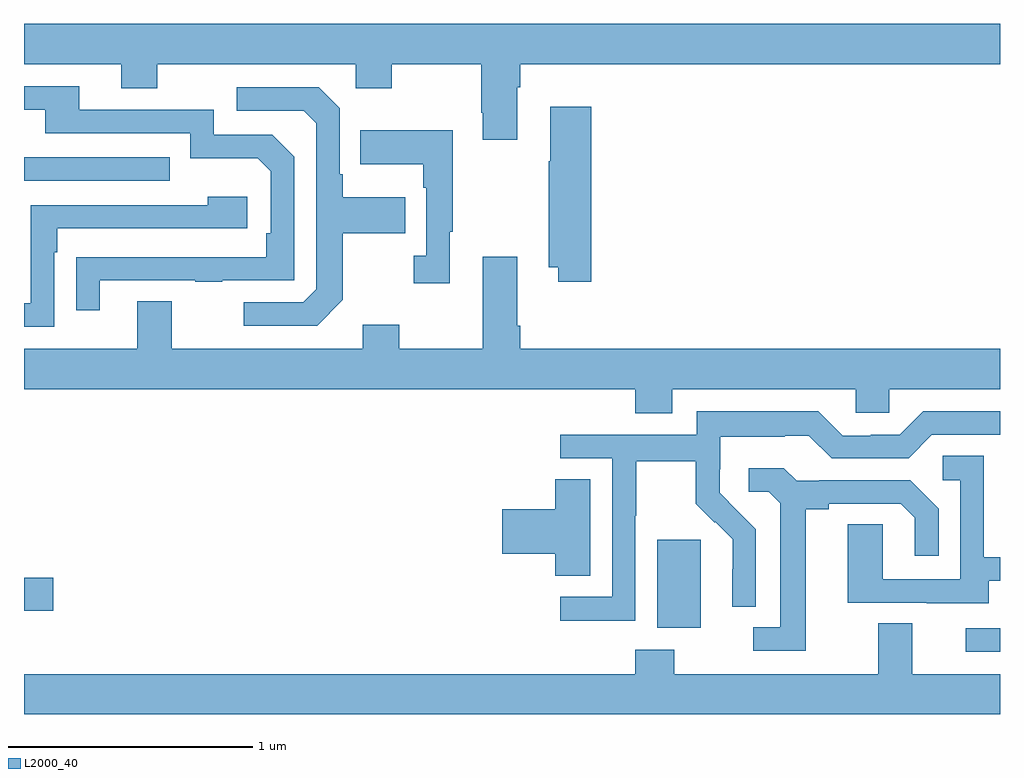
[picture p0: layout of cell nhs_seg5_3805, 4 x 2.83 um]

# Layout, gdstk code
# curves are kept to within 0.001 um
import gdstk
lib = gdstk.Library(unit=1e-6, precision=1e-09)
def R(c, l, rs):  # rectangles x0, y0, x1, y1
    for r in rs: c.add(gdstk.rectangle(r[:2], r[2:], *l))
def P(c, l, *ps):  # polygons
    for p in ps: c.add(gdstk.Polygon(p, *l))
L2000_40 = (2000, 40)

nhs_seg5_3805 = lib.new_cell('nhs_seg5_3805')
R(nhs_seg5_3805, L2000_40, [(338.859,867.672,339,867.768), (337.595,867.77,337.774,868.131), (335,867.839,335.119,867.974), (335,869.601,335.597,869.697)])
P(nhs_seg5_3805, L2000_40, [(337.021,869.984),(337.034,869.984),(337.034,870.08),(339,870.08),(339,870.244),(335,870.244),(335,870.08),(335.399,870.08),(335.399,869.981),(335.547,869.981),(335.547,870.08),(336.36,870.08),(336.36,869.981),(336.507,869.981),(336.507,870.08),(336.874,870.08),(336.874,869.881),(336.881,869.881),(336.881,869.769),(337.021,869.769)],
  [(335.311,869.193),(335.701,869.193),(335.701,869.188),(335.813,869.188),(335.813,869.193),(336.108,869.193),(336.108,869.7),(336.018,869.79),(335.778,869.79),(335.778,869.892),(335.227,869.892),(335.227,869.988),(335,869.988),(335,869.892),(335.087,869.892),(335.087,869.796),(335.682,869.796),(335.682,869.693),(335.959,869.693),(336.012,869.64),(336.012,869.386),(335.992,869.386),(335.992,869.289),(335.215,869.288),(335.215,869.07),(335.311,869.07)],
  [(336.307,869.113),(336.307,869.386),(336.563,869.386),(336.563,869.533),(336.307,869.533),(336.307,869.629),(336.294,869.629),(336.294,869.898),(336.207,869.985),(335.871,869.985),(335.871,869.889),(336.147,869.889),(336.198,869.838),(336.198,869.157),(336.144,869.103),(335.901,869.103),(335.901,869.007),(336.201,869.007)],
  [(337.325,869.905),(337.157,869.905),(337.157,869.681),(337.15,869.681),(337.15,869.246),(337.19,869.246),(337.19,869.187),(337.325,869.187)],
  [(336.745,869.393),(336.757,869.393),(336.757,869.809),(336.379,869.809),(336.379,869.669),(336.636,869.669),(336.636,869.573),(336.648,869.573),(336.648,869.294),(336.597,869.294),(336.597,869.181),(336.745,869.181)],
  [(335.124,869.309),(335.137,869.309),(335.137,869.406),(335.914,869.406),(335.914,869.536),(335.753,869.536),(335.753,869.502),(335.028,869.502),(335.028,869.1),(335,869.1),(335,869.004),(335.124,869.004)],
  [(337.657,868.748),(338.409,868.748),(338.409,868.65),(338.547,868.65),(338.547,868.748),(339,868.748),(339,868.912),(337.034,868.912),(337.034,869.008),(337.021,869.008),(337.021,869.29),(336.881,869.29),(336.881,868.912),(336.537,868.912),(336.537,869.011),(336.389,869.011),(336.389,868.912),(335.605,868.912),(335.605,869.107),(335.465,869.107),(335.465,868.912),(335,868.912),(335,868.748),(337.505,868.748),(337.505,868.649),(337.657,868.649)],
  [(337.506,868.228),(337.509,868.228),(337.509,868.452),(337.753,868.452),(337.753,868.277),(337.83,868.2),(337.833,868.203),(337.904,868.133),(337.904,868.01),(337.902,868.01),(337.902,867.856),(337.998,867.856),(337.998,868.174),(337.852,868.322),(337.852,868.419),(337.854,868.419),(337.854,868.553),(338.117,868.553),(338.117,868.557),(338.217,868.557),(338.31,868.464),(338.625,868.464),(338.721,868.56),(339,868.56),(339,868.656),(338.685,868.656),(338.589,868.56),(338.471,868.56),(338.471,868.557),(338.355,868.557),(338.255,868.657),(337.758,868.657),(337.758,868.56),(337.197,868.56),(337.197,868.464),(337.41,868.464),(337.41,867.897),(337.197,867.897),(337.197,867.799),(337.506,867.799)],
  [(338.953,867.963),(339,867.963),(339,868.059),(338.934,868.059),(338.934,868.475),(338.766,868.475),(338.766,868.374),(338.838,868.374),(338.838,867.969),(338.52,867.969),(338.52,868.193),(338.375,868.193),(338.375,867.873),(338.699,867.873),(338.699,867.869),(338.953,867.869)],
  [(338.203,868.256),(338.299,868.256),(338.299,868.278),(338.594,868.278),(338.651,868.221),(338.651,868.065),(338.748,868.065),(338.748,868.258),(338.632,868.374),(338.26,868.374),(338.26,868.371),(338.166,868.371),(338.114,868.423),(337.971,868.423),(337.971,868.326),(338.052,868.326),(338.099,868.279),(338.099,867.771),(337.989,867.771),(337.989,867.675),(338.203,867.675)],
  [(337.321,868.379),(337.178,868.379),(337.178,868.256),(336.96,868.256),(336.96,868.073),(337.178,868.073),(337.178,867.982),(337.321,867.982)],
  [(339,867.58),(338.641,867.58),(338.641,867.788),(338.501,867.788),(338.501,867.58),(337.665,867.58),(337.665,867.679),(337.505,867.679),(337.505,867.58),(335,867.58),(335,867.416),(339,867.416)])

lib.write_gds('nhs_seg5_3805.gds')
